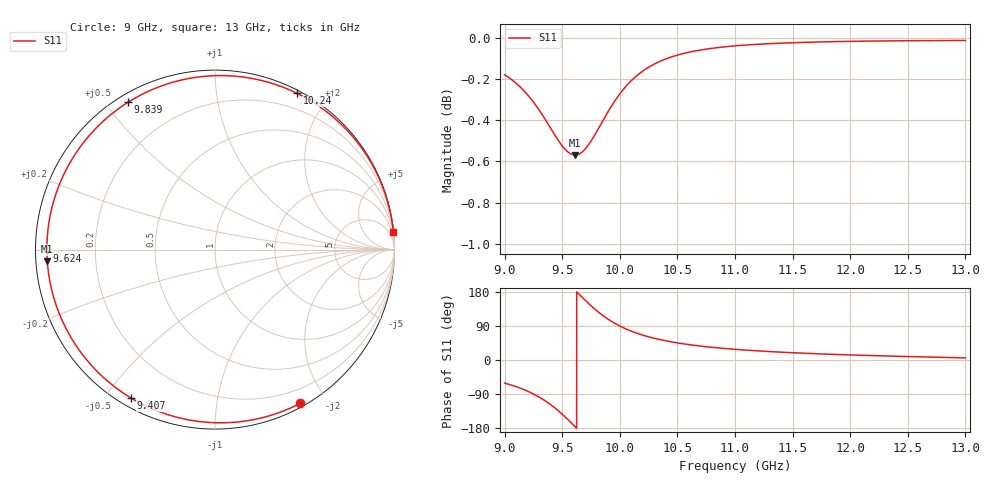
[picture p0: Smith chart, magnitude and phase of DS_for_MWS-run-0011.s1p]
! TOUCHSTONE file generated by CST DESIGN STUDIO
! Date and time: Tue Feb  4 13:36:46 2025
! Project name: C:\Work\MatlabApps\UnitCellOptimizationMatlab\CST\unitcell.cst
! Tree item: Tasks\Sweep1\SPara1\S-Parameters
! Header version: 2024
! Port assignment regex: !\s*Touchstone port\s*([0-9]+)\s*=\s*(CST MWS port|CST DES external port|CST DES block port)\s*(.+)\s* \(\"(.*)\"\)(\s*mode\s*([0-9]+))?.*
! Touchstone port assignment:
! Touchstone port 1 = CST DES external port 1 ("")
# GHz S MA R 50
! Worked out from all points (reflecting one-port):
!   4001 points, 9 GHz to 13 GHz, reference 50 ohm
!   lowest |S11| = -0.6 dB at 9.612 GHz (marker M1), VSWR 30.57, Z = 1.64 - j1.74 ohm
!   phase of S11 starts at -61 deg and turns -294 deg over the sweep
!   S11 on the Smith chart (normalised r, x): 9 GHz: 0.04, -1.70; 9.407 GHz: 0.03, -0.58; 9.624 GHz: 0.03, -0.00; 9.839 GHz: 0.03, +0.57; 10.24 GHz: 0.03, +1.65; 13 GHz: 0, +21
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9  0.9797 -60.9
9.055  0.9773 -65.8
9.127  0.9735 -73.2
9.19  0.9694 -81.0
9.252  0.9647 -89.9
9.335  0.9572 -104.3
9.407  0.95 -119.5
9.454  0.9454 -130.9
9.5  0.9414 -143.1
9.559  0.9378 -160.0
9.612  0.9366 -176.0
9.624  0.9367 -179.7
9.669  0.938 166.6
9.716  0.941 152.7
9.778  0.9467 135.6
9.839  0.9533 120.5
9.914  0.9613 104.6
10  0.9692 89.7
10.113  0.9772 74.6
10.236  0.9832 62.3
10.358  0.9873 53.2
10.5  0.9905 45.1
10.72  0.9935 36.0
11  0.9956 28.1
11.5  0.9974 19.2
12  0.9981 13.4
12.5  0.9985 9.1
13  0.9986 5.6
